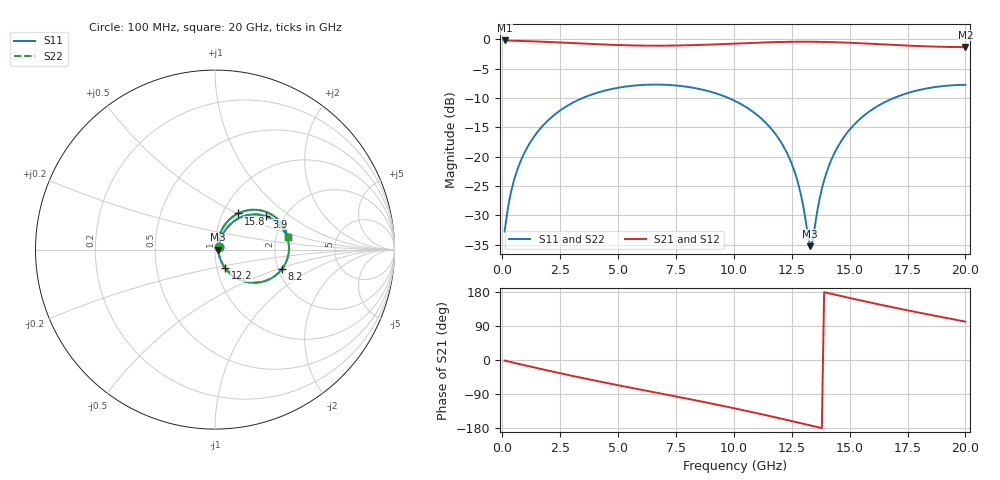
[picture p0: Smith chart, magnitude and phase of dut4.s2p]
! Touchstone file exported from HFSS 2026.1.0
!  File:  C:/ffzhzh/LocalFiles/Ansys_Project_Files/temp_train_TSV_RDL_4_1782959958_45568.aedt
!  Generated:  10:51:45 AM Jul  2, 2026
!  Design:  TSV_RDL
!  Project:  temp_train_TSV_RDL_4_1782959958_45568
! Variables:
!  h_bsmrdl = 2.73um
!  h_ox = 20um
!  h_rdl = 5um
!  h_sub = 66.34um
!  h_tmrdl = 2.89um
!  h_tsv = 66.34um
!  h_via = 3um
!  l_bsmrdl = 430.09um
!  l_sub = 4452.35um
!  l_tmrdl = 649.45um
!  m_sub = 200um
!  pitch = 46.85um
!  r_tsv = 11.76um
!  s_tmrdl = 10um
!  w_bsmrdl = 28.78um
!  w_sub = 500um
!  w_tmrdl = 25.98um
!  x_tsv_center1 = 662.44um
!  x_tsv_center2 = 1121.31um
!  x_tsv_center3 = 1796.74um
!  x_tsv_center4 = 2255.61um
!  x_tsv_center5 = 2931.04um
!  x_tsv_center6 = 3389.91um
# GHz S MA R 50.000000
! Terminal data exported
! Port[1] = TM_RDL1_1_T1
! Port[2] = TM_RDL5_1_T1
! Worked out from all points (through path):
!   200 points, 100 MHz to 20 GHz, reference 50 ohm
!   highest |S21| = -0.17 dB at 100 MHz (marker M1); lowest = -1.3 dB at 20 GHz (marker M2)
!   group delay of S21, straight-line fit = 35.9 ps
!   lowest |S11| = -35.3 dB at 13.3 GHz (marker M3), VSWR 1.04, Z = 51.8 - j0.0477 ohm
!   |S11| at or under -10 dB: start of sweep to 3.466 GHz; 9.777 GHz to 16.9 GHz (7.127 GHz wide, 53.4 % of centre)
!   |S22| runs from -35.2 to -7.7 dB; largest |S21 - S12| = 2.1e-14
!   S11 on the Smith chart (normalised r, x): 100 MHz: 1.04, +0.03; 3.9 GHz: 1.63, +0.68; 8.2 GHz: 2.10, -0.54; 12.2 GHz: 1.09, -0.23; 15.8 GHz: 1.18, +0.50; 20 GHz: 2.31, +0.38
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0.1  0.02298 31.9  0.9807 -1.5  0.9807 -1.5  0.02298 31.9
! Gamma 0 0 0 0
! Port Impedance 50 0 50 0
0.3  0.04212 55.0  0.9779 -4.5  0.9779 -4.5  0.04212 55.0
0.5  0.06239 60.6  0.975 -7.4  0.975 -7.4  0.06239 60.6
1.1  0.1219 62.1  0.9673 -15.8  0.9673 -15.8  0.1219 62.1
2.1  0.2148 53.4  0.9505 -29.6  0.9505 -29.6  0.2148 53.4
3.5  0.3184 37.5  0.9218 -48.0  0.9218 -48.0  0.3184 37.5
3.9  0.3411 32.8  0.9139 -53.1  0.9139 -53.1  0.3411 32.8
6.8  0.4119 -0.3  0.885 -88.0  0.885 -88.0  0.4119 -0.3
8.2  0.3884 -16.2  0.8938 -104.7  0.8938 -104.7  0.3884 -16.2
10.1  0.2955 -38.6  0.9233 -128.5  0.9233 -128.5  0.2955 -38.5
11.3  0.2015 -52.6  0.9433 -144.5  0.9433 -144.5  0.2015 -52.6
12.2  0.1169 -61.2  0.9536 -157.0  0.9536 -157.0  0.1169 -61.2
12.8  0.05696 -60.4  0.9566 -165.5  0.9566 -165.5  0.05702 -60.3
13.3  0.01723 -1.5  0.9564 -172.6  0.9564 -172.6  0.01738 -1.5
13.4  0.0191 30.2  0.956 -174.0  0.956 -174.0  0.01923 29.9
13.8  0.0531 69.5  0.9535 -179.6  0.9535 -179.6  0.05312 69.3
14.2  0.09288 72.2  0.9494 174.7  0.9494 174.7  0.09289 72.1
14.9  0.1606 67.2  0.9391 165.0  0.9391 165.0  0.1606 67.2
15.8  0.2389 57.4  0.9216 152.8  0.9216 152.8  0.2388 57.4
16.7  0.3036 46.9  0.9025 141.1  0.9025 141.1  0.3036 46.9
18.3  0.3811 28.6  0.8738 121.3  0.8738 121.3  0.381 28.6
20  0.41 9.7  0.8609 101.3  0.8609 101.3  0.41 9.7
